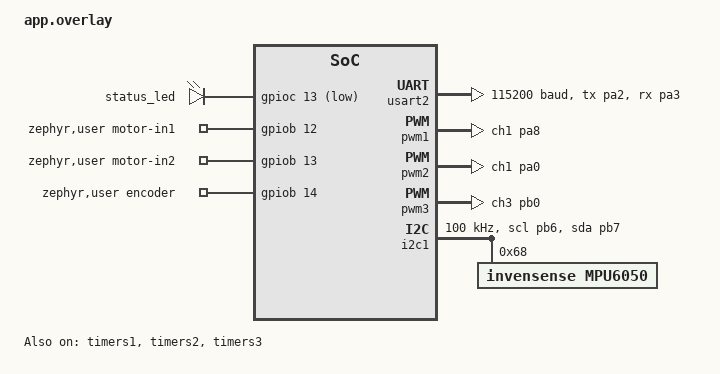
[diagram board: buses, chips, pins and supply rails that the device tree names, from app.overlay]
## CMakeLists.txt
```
cmake_minimum_required(VERSION 3.20.0)
find_package(Zephyr REQUIRED HINTS $ENV{ZEPHYR_BASE})
project(banco_de_pruebas LANGUAGES C)

target_sources(app PRIVATE
  src/main.c
  src/actuadores.c
  src/comms.c
  src/encoder.c
  src/fsm.c
  src/imu.c
  src/indicadores.c
  src/telemetria.c
  src/crc16.c
)

target_include_directories(app PRIVATE src)
```

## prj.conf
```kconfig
# Banco de Pruebas - Blue Pill (STM32F103C8)
#
# Telemetria y comandos por UART, MPU6050 por el driver oficial de
# Zephyr (sensor subsystem) y salidas PWM/GPIO desde el devicetree.

CONFIG_EVENTS=y                  # bus de eventos (k_event) donde duerme la FSM

CONFIG_SERIAL=y
CONFIG_UART_INTERRUPT_DRIVEN=y   # recepcion de comandos por interrupcion

CONFIG_I2C=y
CONFIG_SENSOR=y
CONFIG_MPU6050=y                  # driver oficial del giroscopio

CONFIG_GPIO=y
CONFIG_PWM=y

CONFIG_UART_CONSOLE=n             # USART2 queda libre para el ESP32
```

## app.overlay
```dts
/*
 * Banco de Pruebas - Blue Pill (STM32F103C8)
 *
 * TODO el cableado del banco se declara aqui: el codigo C no tiene
 * ningun numero de pin "quemado".
 *
 *   USART2 (PA2/PA3)   enlace con el ESP32
 *   I2C1   (PB6/PB7)   MPU6050, leido por el driver oficial de Zephyr
 *   PWM2   (PA0)       velocidad del motor DC
 *   PWM3   (PB0)       servo de la almohadilla de frenado
 *   PWM1   (PA8)       bocina
 *   PB12/PB13          direccion del puente H (IN1/IN2)
 *   PB14               encoder optico (interrupcion por flanco)
 *   PC13               LED de estado (activo bajo)
 *
 * Con st,prescaler = <71> los timers cuentan a 1 MHz (72 MHz / 72).
 */

&usart2 {
	status = "okay";
	pinctrl-0 = <&usart2_tx_pa2 &usart2_rx_pa3>;
	pinctrl-names = "default";
	current-speed = <115200>;
};

&timers1 {
	status = "okay";
	st,prescaler = <71>;
};

&pwm1 {
	status = "okay";
	pinctrl-0 = <&tim1_ch1_pa8>;          /* bocina */
	pinctrl-names = "default";
};

&timers2 {
	status = "okay";
	st,prescaler = <71>;
};

&pwm2 {
	status = "okay";
	pinctrl-0 = <&tim2_ch1_pa0>;          /* motor */
	pinctrl-names = "default";
};

&timers3 {
	status = "okay";
	st,prescaler = <71>;
};

&pwm3 {
	status = "okay";
	pinctrl-0 = <&tim3_ch3_pb0>;          /* servo */
	pinctrl-names = "default";
};

&i2c1 {
	status = "okay";
	pinctrl-0 = <&i2c1_scl_pb6 &i2c1_sda_pb7>;
	pinctrl-names = "default";
	clock-frequency = <I2C_BITRATE_STANDARD>;

	/* Giroscopio/acelerometro por el driver oficial (CONFIG_MPU6050).
	 * Si el modulo tiene AD0 a nivel alto, cambia el reg a <0x69>. */
	mpu6050: mpu6050@68 {
		compatible = "invensense,mpu6050";
		reg = <0x68>;
		status = "okay";
		accel-fs = <2>;   /* rango +/-2 g (el driver no acepta attr_set) */
	};
};

&gpiob {
	status = "okay";
};

&gpioc {
	status = "okay";
};

/ {
	/* LED de estado de la placa (PC13, enciende con nivel bajo) */
	status_leds {
		compatible = "gpio-leds";

		status_led: status_led {
			gpios = <&gpioc 13 GPIO_ACTIVE_LOW>;
		};
	};

	/* GPIOs genericos del banco: el codigo los toma con GPIO_DT_SPEC_GET */
	zephyr,user {
		motor-in1-gpios = <&gpiob 12 GPIO_ACTIVE_HIGH>;
		motor-in2-gpios = <&gpiob 13 GPIO_ACTIVE_HIGH>;
		encoder-gpios = <&gpiob 14 GPIO_PULL_DOWN>;
	};
};
```

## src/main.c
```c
/*
 * Banco de Pruebas de Carga - STM32 Blue Pill (Zephyr)
 *
 * El main no lleva logica: configura los modulos, levanta los hilos
 * y se retira. Todo el trabajo ocurre entre hilos, semaforos, colas
 * y mensajes:
 *
 *   comms.c       ISR de UART -> cola de bytes -> hilo -> eventos FSM
 *   fsm.c         FSM dormida en el bus de eventos (k_event)
 *   imu.c         MPU6050 por el driver oficial -> eventos de vibracion
 *   encoder.c     ISR de GPIO -> semaforo contador -> RPM promediadas
 *   indicadores.c LED de latido + patrones de la bocina
 *   telemetria.c  muestreo -> cola de tramas -> TX por UART (JSON+CRC)
 *
 * Comandos por UART desde el ESP32: 'G' arrancar, 'E' emergencia,
 * 'R' reiniciar. El cableado completo esta en app.overlay.
 */
#include <zephyr/kernel.h>

#include "actuadores.h"
#include "comms.h"
#include "encoder.h"
#include "fsm.h"
#include "imu.h"
#include "indicadores.h"
#include "telemetria.h"

int main(void)
{
	/* Sin salidas PWM/GPIO no hay banco que controlar. */
	if (actuadores_init() != 0) {
		return 0;
	}

	/* El resto son de mejor esfuerzo: si el MPU6050 no esta, la
	 * telemetria lo reporta ("SIN_SENSOR") y el banco sigue. */
	imu_init();
	encoder_init();
	comms_init();
	indicadores_init();
	telemetria_init();
	fsm_init();

	/* Nada de bloquear aqui: los hilos llevan el mando. */
	k_sleep(K_FOREVER);
	return 0;
}
```

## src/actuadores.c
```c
/*
 * Actuadores del banco: motor DC, servo y bocina.
 *
 * Hardware (todo declarado en app.overlay):
 *   motor  PA0 (TIM2_CH1, canal 1) + IN1/IN2 en PB12/PB13
 *   servo  PB0 (TIM3_CH3, canal 3)
 *   bocina PA8 (TIM1_CH1, canal 1)
 */
#include <errno.h>
#include <zephyr/kernel.h>
#include <zephyr/device.h>
#include <zephyr/drivers/gpio.h>
#include <zephyr/drivers/pwm.h>

#include "actuadores.h"
#include "app_config.h"

/* Canal del timer que usa cada salida (ver pinctrl en app.overlay) */
#define MOTOR_CANAL 1
#define SERVO_CANAL 3
#define TONO_CANAL  1

#define MOTOR_PERIODO_NS 1000000u   /* 1 kHz  */
#define SERVO_PERIODO_NS 20000000u  /* 50 Hz  */

static const struct device *const pwm_motor = DEVICE_DT_GET(DT_NODELABEL(pwm2));
static const struct device *const pwm_servo = DEVICE_DT_GET(DT_NODELABEL(pwm3));
static const struct device *const pwm_tono  = DEVICE_DT_GET(DT_NODELABEL(pwm1));

/* Direccion del puente H (nodo zephyr,user del overlay) */
static const struct gpio_dt_spec in1 =
	GPIO_DT_SPEC_GET(DT_PATH(zephyr,user), motor_in1_gpios);
static const struct gpio_dt_spec in2 =
	GPIO_DT_SPEC_GET(DT_PATH(zephyr,user), motor_in2_gpios);

static atomic_t duty = ATOMIC_INIT(0);

void act_motor(uint8_t pct)
{
	if (pct > 100) {
		pct = 100;
	}
	atomic_set(&duty, (long)pct);

	gpio_pin_set_dt(&in1, pct > 0);
	gpio_pin_set_dt(&in2, false);
	(void)pwm_set(pwm_motor, MOTOR_CANAL, MOTOR_PERIODO_NS,
		      (MOTOR_PERIODO_NS / 100u) * pct, PWM_POLARITY_NORMAL);
}

uint8_t act_motor_duty(void)
{
	return (uint8_t)atomic_get(&duty);
}

void act_servo(uint16_t grados)
{
	if (grados > 180) {
		grados = 180;
	}
	/* 0 grados = CFG_SERVO_US_MIN, 180 grados = +1800 us */
	uint32_t ancho_ns = (CFG_SERVO_US_MIN + 10u * grados) * 1000u;

	(void)pwm_set(pwm_servo, SERVO_CANAL, SERVO_PERIODO_NS, ancho_ns,
		      PWM_POLARITY_NORMAL);
}

void act_tono(uint32_t hz)
{
	if (hz == 0) {
		/* silencio: pulso nulo */
		(void)pwm_set(pwm_tono, TONO_CANAL, MOTOR_PERIODO_NS, 0,
			      PWM_POLARITY_NORMAL);
		return;
	}
	uint32_t periodo_ns = 1000000000u / hz;

	(void)pwm_set(pwm_tono, TONO_CANAL, periodo_ns, periodo_ns / 2u,
		      PWM_POLARITY_NORMAL);
}

int actuadores_init(void)
{
	if (!device_is_ready(pwm_motor) || !device_is_ready(pwm_servo) ||
	    !device_is_ready(pwm_tono)) {
		return -ENODEV;
	}

	int err = gpio_pin_configure_dt(&in1, GPIO_OUTPUT_INACTIVE);

	if (err != 0) {
		return err;
	}
	err = gpio_pin_configure_dt(&in2, GPIO_OUTPUT_INACTIVE);
	if (err != 0) {
		return err;
	}

	act_motor(0);
	act_servo(0);
	act_tono(0);
	return 0;
}
```

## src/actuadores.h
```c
#ifndef ACTUADORES_H
#define ACTUADORES_H

#include <stdint.h>

/* Motor DC, servo (almohadilla de frenado) y bocina.
 * El cableado y los canales de PWM salen del devicetree (app.overlay). */

/* Configura PWM y pines de direccion. 0 = ok. */
int actuadores_init(void);

/* Duty del motor en % (0-100). Tambien arma IN1/IN2. */
void act_motor(uint8_t pct);

/* Duty actual del motor, en %. */
uint8_t act_motor_duty(void);

/* Angulo del servo en grados (0-180). */
void act_servo(uint16_t grados);

/* Tono de la bocina en Hz (0 = silencio). */
void act_tono(uint32_t hz);

#endif /* ACTUADORES_H */
```

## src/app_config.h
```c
/*
 * Banco de Pruebas - ajustes del ensayo (STM32 Blue Pill)
 *
 * Todos los numeros "de laboratorio" viven aqui: se cambia el ensayo
 * sin tocar la logica de los modulos.
 */
#ifndef APP_CONFIG_H
#define APP_CONFIG_H

/* ---- Ensayo ---- */
#define CFG_T_STEADY_MS   5000  /* tiempo en STEADY antes de FALLA        */
#define CFG_T_FALLA_MS    2000  /* tiempo en FALLA antes de decidir        */
#define CFG_RAMPA_MS       200  /* cada cuanto sube el duty durante ACCEL  */
#define CFG_RAMPA_PASO       5  /* cuanto sube el duty en cada paso (%)    */
#define CFG_TELEM_MS       1000  /* periodo de la trama de telemetria (ms) */

/* ---- Encoder ---- */
#define CFG_PPV             20   /* pulsos por vuelta del disco            */
#define CFG_N_PROM           3   /* ventanas de RPM que se promedian       */

/* ---- Vibracion (MPU6050) ---- */
#define CFG_G_CENTI        981   /* gravedad en m/s^2 x100 (se descuenta)  */
#define CFG_VIB_LIMITE      50   /* umbral de vibracion, m/s^2 x100        */
#define CFG_VIB_MUESTRAS     3   /* lecturas seguidas para confirmar       */
#define CFG_VIB_SIM           0   /* 0 = sensor real. 100 = simula vibracion
				     fuerte y fuerza la EMERGENCIA          */

/* ---- Servo ---- */
#define CFG_SERVO_US_MIN   600   /* ancho de pulso a 0 grados, en us       */

#endif /* APP_CONFIG_H */
```

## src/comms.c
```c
#include <errno.h>
#include <zephyr/kernel.h>
#include <zephyr/device.h>
#include <zephyr/drivers/uart.h>

#include "comms.h"
#include "fsm.h"

#define RX_STACK     640
#define RX_PRIO      6
#define RX_COLA_PROF 8

K_THREAD_STACK_DEFINE(rx_stack, RX_STACK);
static struct k_thread rx_hilo;

static const struct device *const uart = DEVICE_DT_GET(DT_NODELABEL(usart2));

/* Cola de bytes crudos entre la ISR y el hilo de comandos */
K_MSGQ_DEFINE(cola_rx, sizeof(uint8_t), RX_COLA_PROF, 1);

/* ISR del UART: cada byte recibido pasa a la cola. */
static void rx_isr(const struct device *dev, void *user_data)
{
	uint8_t c;

	ARG_UNUSED(user_data);

	while (uart_irq_update(dev) && uart_irq_rx_ready(dev)) {
		uart_fifo_read(dev, &c, 1);
		k_msgq_put(&cola_rx, &c, K_NO_WAIT);
	}
}

/* Hilo de comandos: cola de bytes -> eventos de la FSM. */
static void rx_fn(void *a, void *b, void *c)
{
	uint8_t cmd;

	ARG_UNUSED(a);
	ARG_UNUSED(b);
	ARG_UNUSED(c);

	while (1) {
		k_msgq_get(&cola_rx, &cmd, K_FOREVER);

		switch (cmd) {
		case 'G':
			fsm_post(FSM_EVT_GO);
			break;
		case 'E':
			fsm_post(FSM_EVT_EMERG);
			break;
		case 'R':
			fsm_post(FSM_EVT_RESET);
			break;
		default:
			break;   /* ruido de linea: se ignora */
		}
	}
}

int comms_init(void)
{
	if (!device_is_ready(uart)) {
		return -ENODEV;
	}

	int err = uart_irq_callback_user_data_set(uart, rx_isr, NULL);

	if (err != 0) {
		return err;
	}

	uart_irq_rx_enable(uart);

	k_thread_create(&rx_hilo, rx_stack, RX_STACK, rx_fn, NULL, NULL, NULL,
			RX_PRIO, 0, K_NO_WAIT);
	return 0;
}
```

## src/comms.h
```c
#ifndef COMMS_H
#define COMMS_H

/*
 * Recepcion de comandos del ESP32 por USART2 (por interrupcion).
 *
 * La ISR del UART solo mete los bytes en una cola (k_msgq); el hilo
 * de comandos los traduce a eventos de la FSM. Ni la ISR ni el main
 * bloquean nunca.
 *
 *   'G' -> arrancar ensayo       'E' -> parada de emergencia
 *   'R' -> reiniciar a IDLE
 */

/* Habilita la IRQ de RX y crea el hilo de comandos. 0 = ok. */
int comms_init(void);

#endif /* COMMS_H */
```

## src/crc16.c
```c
#include "crc16.h"

uint16_t crc16(const uint8_t *datos, size_t n)
{
	uint16_t crc = 0xFFFF;

	for (size_t i = 0; i < n; i++) {
		crc ^= (uint16_t)datos[i] << 8;
		for (int b = 0; b < 8; b++) {
			if (crc & 0x8000) {
				crc = (uint16_t)((crc << 1) ^ 0x1021);
			} else {
				crc = (uint16_t)(crc << 1);
			}
		}
	}
	return crc;
}
```

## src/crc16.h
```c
#ifndef CRC16_H
#define CRC16_H

#include <stddef.h>
#include <stdint.h>

/* CRC-16/CCITT: polinomio 0x1021, inicio 0xFFFF.
 * El mismo calculo se repite en el ESP32 (protocol.py). */
uint16_t crc16(const uint8_t *datos, size_t n);

#endif /* CRC16_H */
```

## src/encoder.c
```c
/*
 * Encoder optico del motor.
 *
 * Cada flanco de subida en PB14 dispara la ISR, que solo hace
 * k_sem_give() de un semaforo contador. El hilo drena el semaforo
 * una vez por ventana de 1 s: el numero de "take" exitosos es el
 * numero de pulsos de la ventana, con lo que se calculan las RPM y
 * un promedio movil de CFG_N_PROM ventanas.
 */
#include <errno.h>
#include <zephyr/kernel.h>
#include <zephyr/drivers/gpio.h>

#include "app_config.h"
#include "encoder.h"

#define ENC_STACK 512
#define ENC_PRIO  4

K_THREAD_STACK_DEFINE(enc_stack, ENC_STACK);
static struct k_thread enc_hilo;

/* Pin del encoder (nodo zephyr,user del overlay) */
static const struct gpio_dt_spec pin_enc =
	GPIO_DT_SPEC_GET(DT_PATH(zephyr,user), encoder_gpios);

static atomic_t rpm_prom = ATOMIC_INIT(0);

/* Semaforo contador: la ISR lo da por cada pulso del disco. */
K_SEM_DEFINE(enc_sem, 0, 8192);

static struct gpio_callback enc_cb;

static void enc_isr(const struct device *port, struct gpio_callback *cb,
		    uint32_t pins)
{
	ARG_UNUSED(port);
	ARG_UNUSED(cb);
	ARG_UNUSED(pins);

	k_sem_give(&enc_sem);
}

/* Cuanta los pulsos pendientes y deja el semaforo a cero. */
static uint32_t drenar_pulsos(void)
{
	uint32_t n = 0;

	while (k_sem_take(&enc_sem, K_NO_WAIT) == 0) {
		n++;
	}
	return n;
}

static void enc_fn(void *a, void *b, void *c)
{
	uint16_t hist[CFG_N_PROM] = {0};
	int idx = 0;

	ARG_UNUSED(a);
	ARG_UNUSED(b);
	ARG_UNUSED(c);

	while (1) {
		int64_t t0 = k_uptime_get();

		k_sleep(K_SECONDS(1));

		uint32_t ventana_ms = (uint32_t)(k_uptime_get() - t0);
		uint32_t pulsos = drenar_pulsos();
		uint32_t rpm = 0;

		/* RPM = pulsos * (60000 ms/min) / (PPV * ventana en ms) */
		if (ventana_ms > 0) {
			rpm = (uint32_t)((uint64_t)pulsos * 60000ULL /
					 ((uint64_t)CFG_PPV * ventana_ms));
		}

		/* promedio movil de las ultimas CFG_N_PROM ventanas */
		hist[idx] = (uint16_t)rpm;
		idx = (idx + 1) % CFG_N_PROM;

		uint32_t suma = 0;

		for (int i = 0; i < CFG_N_PROM; i++) {
			suma += hist[i];
		}
		atomic_set(&rpm_prom, (long)(suma / CFG_N_PROM));
	}
}

uint16_t encoder_rpm(void)
{
	return (uint16_t)atomic_get(&rpm_prom);
}

int encoder_init(void)
{
	if (!device_is_ready(pin_enc.port)) {
		return -ENODEV;
	}

	int err = gpio_pin_configure_dt(&pin_enc, GPIO_INPUT);

	if (err != 0) {
		return err;
	}

	gpio_init_callback(&enc_cb, enc_isr, BIT(pin_enc.pin));
	err = gpio_add_callback(pin_enc.port, &enc_cb);
	if (err != 0) {
		return err;
	}

	/* flanco de subida; el pull-down del devicetree evita contar ruido */
	err = gpio_pin_interrupt_configure_dt(&pin_enc, GPIO_INT_EDGE_RISING);
	if (err != 0) {
		return err;
	}

	k_thread_create(&enc_hilo, enc_stack, ENC_STACK, enc_fn, NULL, NULL, NULL,
			ENC_PRIO, 0, K_NO_WAIT);
	return 0;
}
```

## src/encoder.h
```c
#ifndef ENCODER_H
#define ENCODER_H

#include <stdint.h>

/* Encoder optico del motor: ISR por flanco + semaforo contador +
 * hilo que calcula las RPM promediadas por ventana. */

/* Configura el pin y crea el hilo. 0 = ok. */
int encoder_init(void);

/* RPM promediadas de las ultimas CFG_N_PROM ventanas de 1 s. */
uint16_t encoder_rpm(void);

#endif /* ENCODER_H */
```

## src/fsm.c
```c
/*
 * FSM del banco de pruebas.
 *
 * Flujo: IDLE --G--> ACCEL --rampa al 100%--> STEADY --CFG_T_STEADY_MS
 *        o vibracion alta--> FALLA --CFG_T_FALLA_MS--> EMERG o IDLE
 *        segun la vibracion. EMERG solo sale con 'R'.
 *
 * La FSM se bloquea en k_event_wait() (el bus de eventos es un banco
 * de semaforos binarios): no sondea UART ni sensores, no imprime y no
 * genera pulsos por software. Los plazos de cada estado se implementan
 * con el timeout del propio k_event_wait().
 */
#include <errno.h>
#include <zephyr/kernel.h>

#include "actuadores.h"
#include "app_config.h"
#include "fsm.h"
#include "imu.h"

#define FSM_STACK 768
#define FSM_PRIO  5

K_THREAD_STACK_DEFINE(fsm_stack, FSM_STACK);
static struct k_thread fsm_hilo;

static atomic_t estado = ATOMIC_INIT(FSM_IDLE);
static int64_t t_entrada;   /* instante en que entro al estado actual */

/* Bus de eventos de la FSM */
static K_EVENT_DEFINE(fsm_eventos);

void fsm_post(uint32_t eventos)
{
	k_event_post(&fsm_eventos, eventos);
}

int fsm_estado(void)
{
	return (int)atomic_get(&estado);
}

const char *fsm_nombre(int est)
{
	static const char *const nombres[] = {
		"IDLE", "ACCEL", "STEADY", "FALLA", "EMERGENCIA"
	};

	if (est < 0 || est > FSM_EMERG) {
		return "?";
	}
	return nombres[est];
}

/* Salidas que se arman al entrar a cada estado. */
static void ir_a(enum fsm_estado nuevo)
{
	atomic_set(&estado, nuevo);
	t_entrada = k_uptime_get();

	switch (nuevo) {
	case FSM_IDLE:
		act_motor(0);
		act_servo(0);
		break;
	case FSM_ACCEL:
		act_motor(0);       /* la rampa arranca desde cero */
		act_servo(90);
		break;
	case FSM_STEADY:
		act_servo(180);     /* almohadilla totalmente apartada */
		break;
	case FSM_FALLA:
		/* bocina y LED los lleva el modulo indicadores */
		break;
	case FSM_EMERG:
		act_motor(0);
		act_servo(0);       /* la almohadilla frena el eje */
		break;
	}
}

/* Espera cualquier evento hasta el instante "limite" (en ms).
 * Devuelve los eventos recibidos (0 = solo vencio el plazo). */
static uint32_t esperar_hasta(int64_t limite)
{
	int64_t resta = limite - k_uptime_get();

	if (resta <= 0) {
		return 0;
	}
	return k_event_wait(&fsm_eventos, FSM_EVT_TODOS, false,
			    K_MSEC((uint32_t)resta));
}

static void fsm_fn(void *a, void *b, void *c)
{
	uint32_t ev;

	ARG_UNUSED(a);
	ARG_UNUSED(b);
	ARG_UNUSED(c);

	ir_a(FSM_IDLE);

	while (1) {
		switch ((int)atomic_get(&estado)) {

		case FSM_IDLE:
			ev = k_event_wait(&fsm_eventos, FSM_EVT_TODOS, false,
					  K_FOREVER);
			if (ev & FSM_EVT_EMERG) {
				ir_a(FSM_EMERG);
			} else if (ev & FSM_EVT_RESET) {
				ir_a(FSM_IDLE);
			} else if (ev & FSM_EVT_GO) {
				ir_a(FSM_ACCEL);
			}
			break;

		case FSM_ACCEL:
			if (act_motor_duty() >= 100) {
				ir_a(FSM_STEADY);
				break;
			}
			/* siguiente paso de la rampa */
			ev = esperar_hasta(k_uptime_get() + CFG_RAMPA_MS);
			if (ev & FSM_EVT_EMERG) {
				ir_a(FSM_EMERG);
			} else if (ev & FSM_EVT_RESET) {
				ir_a(FSM_IDLE);
			} else if (ev == 0) {
				act_motor(act_motor_duty() + CFG_RAMPA_PASO);
			}
			/* los avisos de vibracion no aplican en la rampa */
			break;

		case FSM_STEADY:
			ev = esperar_hasta(t_entrada + CFG_T_STEADY_MS);
			if (ev & FSM_EVT_EMERG) {
				ir_a(FSM_EMERG);
			} else if (ev & FSM_EVT_RESET) {
				ir_a(FSM_IDLE);
			} else if (ev & FSM_EVT_VIB_ALTA) {
				ir_a(FSM_FALLA);   /* fallo anticipado */
			} else if (ev == 0) {
				ir_a(FSM_FALLA);   /* fin del tiempo de ensayo */
			}
			break;

		case FSM_FALLA:
			ev = esperar_hasta(t_entrada + CFG_T_FALLA_MS);
			if (ev & FSM_EVT_EMERG) {
				ir_a(FSM_EMERG);
			} else if (ev & FSM_EVT_RESET) {
				ir_a(FSM_IDLE);
			} else if (ev & FSM_EVT_VIB_ALTA) {
				ir_a(FSM_EMERG);   /* vibracion confirmada */
			} else if (ev == 0) {
				/* decide con la medicion vigente */
				if (imu_vib_alta()) {
					ir_a(FSM_EMERG);
				} else {
					ir_a(FSM_IDLE);
				}
			}
			break;

		case FSM_EMERG:
			/* no sale sola: hace falta el boton S3 ('R') */
			ev = k_event_wait(&fsm_eventos, FSM_EVT_TODOS, false,
					  K_FOREVER);
			if (ev & FSM_EVT_RESET) {
				ir_a(FSM_IDLE);
			}
			break;
		}
	}
}

int fsm_init(void)
{
	k_thread_create(&fsm_hilo, fsm_stack, FSM_STACK, fsm_fn, NULL, NULL, NULL,
			FSM_PRIO, 0, K_NO_WAIT);
	return 0;
}
```

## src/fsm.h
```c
#ifndef FSM_H
#define FSM_H

#include <zephyr/kernel.h>
#include <stdint.h>

/*
 * Maquina de estados del banco.
 *
 * La FSM no sondea nada: duerme en el bus de eventos (k_event, un
 * banco de semaforos binarios: un bit por aviso) y despierta solo
 * cuando alguien hace fsm_post() o vence el plazo del estado.
 *
 *   IDLE    en reposo, esperando el comando 'G'
 *   ACCEL   rampa de duty 0 -> 100 % (CFG_RAMPA_MS / CFG_RAMPA_PASO)
 *   STEADY  ensayo a plena carga durante CFG_T_STEADY_MS
 *   FALLA   alarma: se confirma la vibracion durante CFG_T_FALLA_MS
 *   EMERG   parada de emergencia; solo 'R' devuelve a IDLE
 */
enum fsm_estado {
	FSM_IDLE,
	FSM_ACCEL,
	FSM_STEADY,
	FSM_FALLA,
	FSM_EMERG,
};

/* Eventos del bus (cada bit = un semaforo binario) */
#define FSM_EVT_GO        BIT(0)  /* comando 'G' del ESP32      */
#define FSM_EVT_EMERG     BIT(1)  /* comando 'E' del ESP32      */
#define FSM_EVT_RESET     BIT(2)  /* comando 'R' del ESP32      */
#define FSM_EVT_VIB_ALTA  BIT(3)  /* imu: vibracion confirmada  */
#define FSM_EVT_VIB_OK    BIT(4)  /* imu: vibracion normalizada */
#define FSM_EVT_TODOS     (FSM_EVT_GO | FSM_EVT_EMERG | FSM_EVT_RESET | \
			    FSM_EVT_VIB_ALTA | FSM_EVT_VIB_OK)

/* Crea el hilo de la FSM. 0 = ok. */
int fsm_init(void);

/* Publica eventos en el bus (llamable desde cualquier hilo). */
void fsm_post(uint32_t eventos);

/* Estado actual (enum fsm_estado). */
int fsm_estado(void);

/* "IDLE", "ACCEL", "STEADY", "FALLA" o "EMERGENCIA". */
const char *fsm_nombre(int estado);

#endif /* FSM_H */
```

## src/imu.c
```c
/*
 * IMU del banco: MPU6050 por I2C1 usando el driver oficial de Zephyr
 * (no hay acceso "raw" al bus: sensor_sample_fetch/sensor_channel_get).
 *
 * El hilo publica la vibracion en el bus de eventos de la FSM
 * (FSM_EVT_VIB_ALTA / FSM_EVT_VIB_OK) cuando el cambio esta
 * confirmado por CFG_VIB_MUESTRAS lecturas consecutivas, para no dar
 * falsas alarmas por ruido del sensor.
 */
#include <zephyr/kernel.h>
#include <zephyr/device.h>
#include <zephyr/drivers/sensor.h>

#include "app_config.h"
#include "fsm.h"
#include "imu.h"

#define IMU_STACK      1024
#define IMU_PRIO       6
#define IMU_PERIODO_MS 200

K_THREAD_STACK_DEFINE(imu_stack, IMU_STACK);
static struct k_thread imu_hilo;

/* Nodo del devicetree: &i2c1/mpu6050@68 (ver app.overlay) */
static const struct device *const imu = DEVICE_DT_GET(DT_NODELABEL(mpu6050));

static atomic_t vib = ATOMIC_INIT(0);
static atomic_t estado = ATOMIC_INIT(IMU_SIN_SENSOR);

int32_t imu_vib(void)
{
	return (int32_t)atomic_get(&vib);
}

bool imu_vib_alta(void)
{
	return atomic_get(&vib) > CFG_VIB_LIMITE;
}

uint8_t imu_estado(void)
{
	return (uint8_t)atomic_get(&estado);
}

/* Rango del acelerometro: +/-2 g. El driver oficial del MPU6050 no
 * expone attr_set (el rango real se fija por devicetree, accel-fs=2 en
 * app.overlay); esta llamada usa el canal correcto SENSOR_CHAN_ACCEL_XYZ
 * por si la plataforma trae un driver con attr_set, y su retorno se
 * ignora adrede cuando no esta soportado. */
static void imu_configurar(void)
{
	struct sensor_value rango = {.val1 = 2};

	(void)sensor_attr_set(imu, SENSOR_CHAN_ACCEL_XYZ,
			      SENSOR_ATTR_FULL_SCALE, &rango);
}

static void imu_fn(void *a, void *b, void *c)
{
	struct sensor_value az;
	int altas = 0;        /* lecturas seguidas sobre el umbral   */
	int normales = 0;      /* lecturas seguidas bajo el umbral    */
	bool listo = false;

	ARG_UNUSED(a);
	ARG_UNUSED(b);
	ARG_UNUSED(c);

	if (device_is_ready(imu)) {
		imu_configurar();
		listo = true;
	}

	while (1) {
		int r = -1;

		if (listo) {
			r = sensor_sample_fetch(imu);
		}
		if (r == 0 &&
		    sensor_channel_get(imu, SENSOR_CHAN_ACCEL_Z, &az) == 0) {
			/* sensor_value: val1 = parte entera,
			 * val2 = fraccion en millonimas */
			int32_t az_centi = az.val1 * 100 + az.val2 / 10000;
			int32_t desvio = az_centi - CFG_G_CENTI;

			if (desvio < 0) {
				desvio = -desvio;
			}
			/* knob de laboratorio: con CFG_VIB_SIM != 0 la
			 * medicion se sustituye (para probar sin motor) */
			if (CFG_VIB_SIM > 0) {
				desvio = CFG_VIB_SIM;
			}
			atomic_set(&vib, desvio);
			atomic_set(&estado, IMU_OK);
		} else {
			/* sin dato fresco: se reporta y se sigue intentando */
			atomic_set(&vib, 0);
			atomic_set(&estado, listo ? IMU_ERR_LECTURA : IMU_SIN_SENSOR);
		}

		/* Aviso a la FSM: solo en el cambio confirmado */
		if (atomic_get(&vib) > CFG_VIB_LIMITE) {
			altas++;
			normales = 0;
		} else {
			normales++;
			altas = 0;
		}
		if (altas == CFG_VIB_MUESTRAS) {
			fsm_post(FSM_EVT_VIB_ALTA);
		}
		if (normales == CFG_VIB_MUESTRAS) {
			fsm_post(FSM_EVT_VIB_OK);
		}

		k_msleep(IMU_PERIODO_MS);
	}
}

int imu_init(void)
{
	k_thread_create(&imu_hilo, imu_stack, IMU_STACK, imu_fn, NULL, NULL, NULL,
			IMU_PRIO, 0, K_NO_WAIT);
	return 0;
}
```
